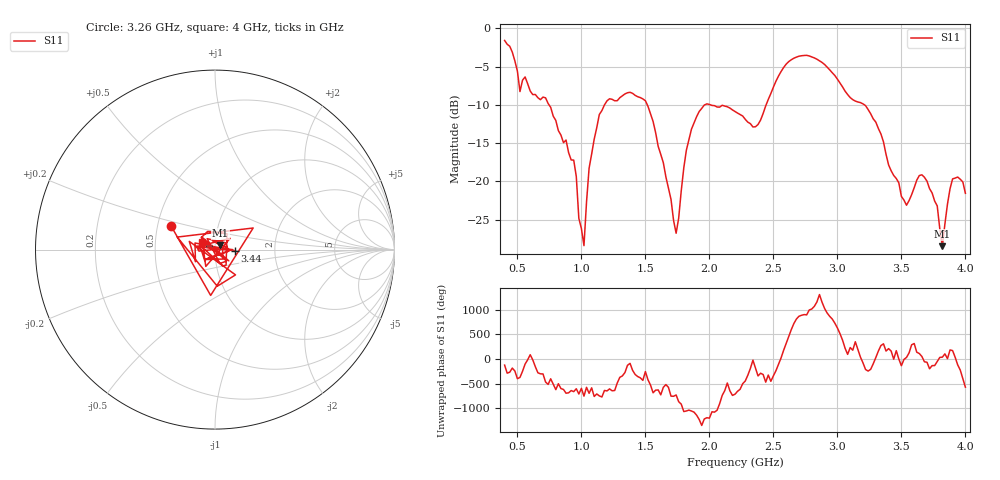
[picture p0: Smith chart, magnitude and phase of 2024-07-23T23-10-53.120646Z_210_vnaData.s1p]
!Created with skrf (http://scikit-rf.org).
# Hz S RI R 50.0
!freq ReS11 ImS11
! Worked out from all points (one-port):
!   181 points, 400 MHz to 4 GHz, reference 50 ohm
!   lowest |S11| = -28.5 dB at 3.82 GHz (marker M1), VSWR 1.08, Z = 53 + j2.5 ohm
!   |S11| at or under -10 dB: 1.515 GHz to 1.962 GHz (447.1 MHz wide, 25.7 % of centre); 2.01 GHz to 2.443 GHz (432.8 MHz wide, 19.4 % of centre); 3.212 GHz to end of sweep (the widest 3 of 4)
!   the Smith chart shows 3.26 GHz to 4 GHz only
!   S11 on the Smith chart (normalised r, x): 3.26 GHz: 0.59, +0.17; 3.44 GHz: 1.24, -0.01; 4 GHz: 0.86, +0.07
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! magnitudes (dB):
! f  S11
! 400 MHz  -1.6
! 520 MHz  -8.3
! 560 MHz  -6.3
! 720 MHz  -9.1
! 860 MHz  -14.9
! 940 MHz  -17.2
! 980 MHz  -24.8
! 1.02 GHz  -28.4
! 1.06 GHz  -18.3
! 1.14 GHz  -11.3
! 1.3 GHz  -9.1
! 1.5 GHz  -9.5
! 1.74 GHz  -26.8
! 1.76 GHz  -24.8
! 1.82 GHz  -15.9
! 1.92 GHz  -10.9
! 2.2 GHz  -10.9
! 2.38 GHz  -12.6
! 2.66 GHz  -3.9
! 3.1 GHz  -9.0
! 3.26 GHz  -11.2
! 3.44 GHz  -19.2
! 3.56 GHz  -22.5
! 3.68 GHz  -19.5
! 3.78 GHz  -23.2
! 3.82 GHz  -28.5
! 3.9 GHz  -19.7
! 4 GHz  -21.6
